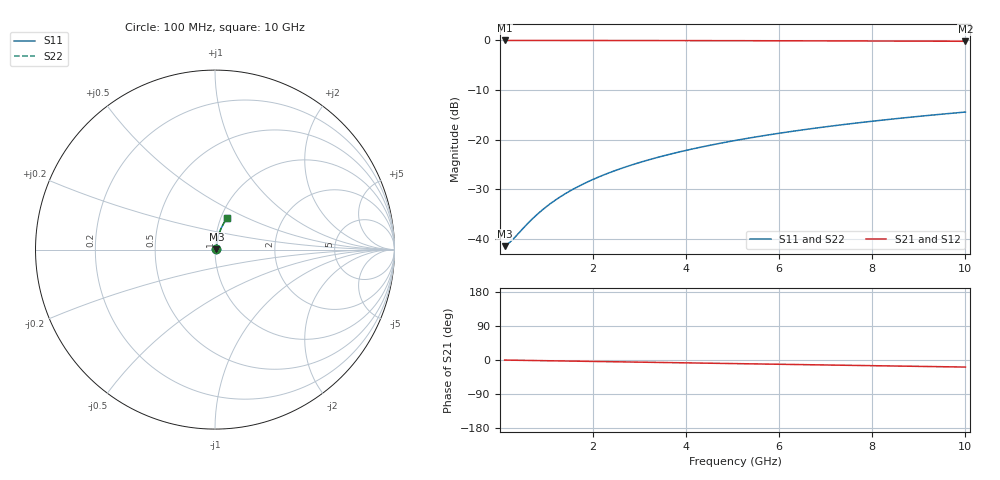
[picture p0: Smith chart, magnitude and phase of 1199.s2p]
# Hz S RI R 50.00
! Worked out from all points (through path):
!   100 points, 100 MHz to 10 GHz, reference 50 ohm
!   highest |S21| = -0.07 dB at 100 MHz (marker M1); lowest = -0.2 dB at 10 GHz (marker M2)
!   group delay of S21, straight-line fit = 5.18 ps
!   lowest |S11| = -41.4 dB at 100 MHz (marker M3), VSWR 1.02, Z = 50.8 + j0.195 ohm
!   |S11| at or under -10 dB: start of sweep to end of sweep
!   |S22| runs from -41.4 to -14.5 dB; largest |S21 - S12| = 0
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1e8  0.0083 0.00192  0.9917 -0.00326  0.9917 -0.00326  0.0083 0.00192
2e8  0.00837 0.00384  0.9916 -0.00653  0.9916 -0.00653  0.00837 0.00384
3e8  0.00844 0.00576  0.9915 -0.00979  0.9915 -0.00979  0.00844 0.00576
5e8  0.0086 0.0096  0.9914 -0.0163  0.9914 -0.0163  0.0086 0.0096
7e8  0.0088 0.0134  0.9911 -0.0228  0.9911 -0.0228  0.0088 0.0134
8e8  0.00891 0.0154  0.991 -0.0261  0.991 -0.0261  0.00891 0.0154
1e9  0.00918 0.0192  0.9907 -0.0326  0.9907 -0.0326  0.00918 0.0192
1.2e9  0.00948 0.023  0.9904 -0.0391  0.9904 -0.0391  0.00948 0.023
1.4e9  0.00984 0.0268  0.99 -0.0456  0.99 -0.0456  0.00984 0.0268
1.6e9  0.0102 0.0307  0.9895 -0.0521  0.9895 -0.0521  0.0102 0.0307
1.8e9  0.0107 0.0345  0.989 -0.0586  0.989 -0.0586  0.0107 0.0345
2.1e9  0.0115 0.0402  0.9881 -0.0684  0.9881 -0.0684  0.0115 0.0402
2.5e9  0.0127 0.0477  0.9867 -0.0813  0.9867 -0.0813  0.0127 0.0477
2.9e9  0.0141 0.0553  0.9851 -0.0942  0.9851 -0.0942  0.0141 0.0553
3.4e9  0.0161 0.0646  0.9828 -0.1103  0.9828 -0.1103  0.0161 0.0646
4.2e9  0.0199 0.0794  0.9784 -0.1358  0.9784 -0.1358  0.0199 0.0794
5.1e9  0.0251 0.0957  0.9724 -0.1642  0.9724 -0.1642  0.0251 0.0957
5.9e9  0.0306 0.1099  0.9662 -0.1892  0.9662 -0.1892  0.0306 0.1099
6.7e9  0.0367 0.1238  0.9592 -0.2138  0.9592 -0.2138  0.0367 0.1238
7.5e9  0.0435 0.1372  0.9513 -0.2381  0.9513 -0.2381  0.0435 0.1372
8.4e9  0.052 0.1518  0.9415 -0.2648  0.9415 -0.2648  0.052 0.1518
1e10  0.0689 0.1764  0.9219 -0.311  0.9219 -0.311  0.0689 0.1764
